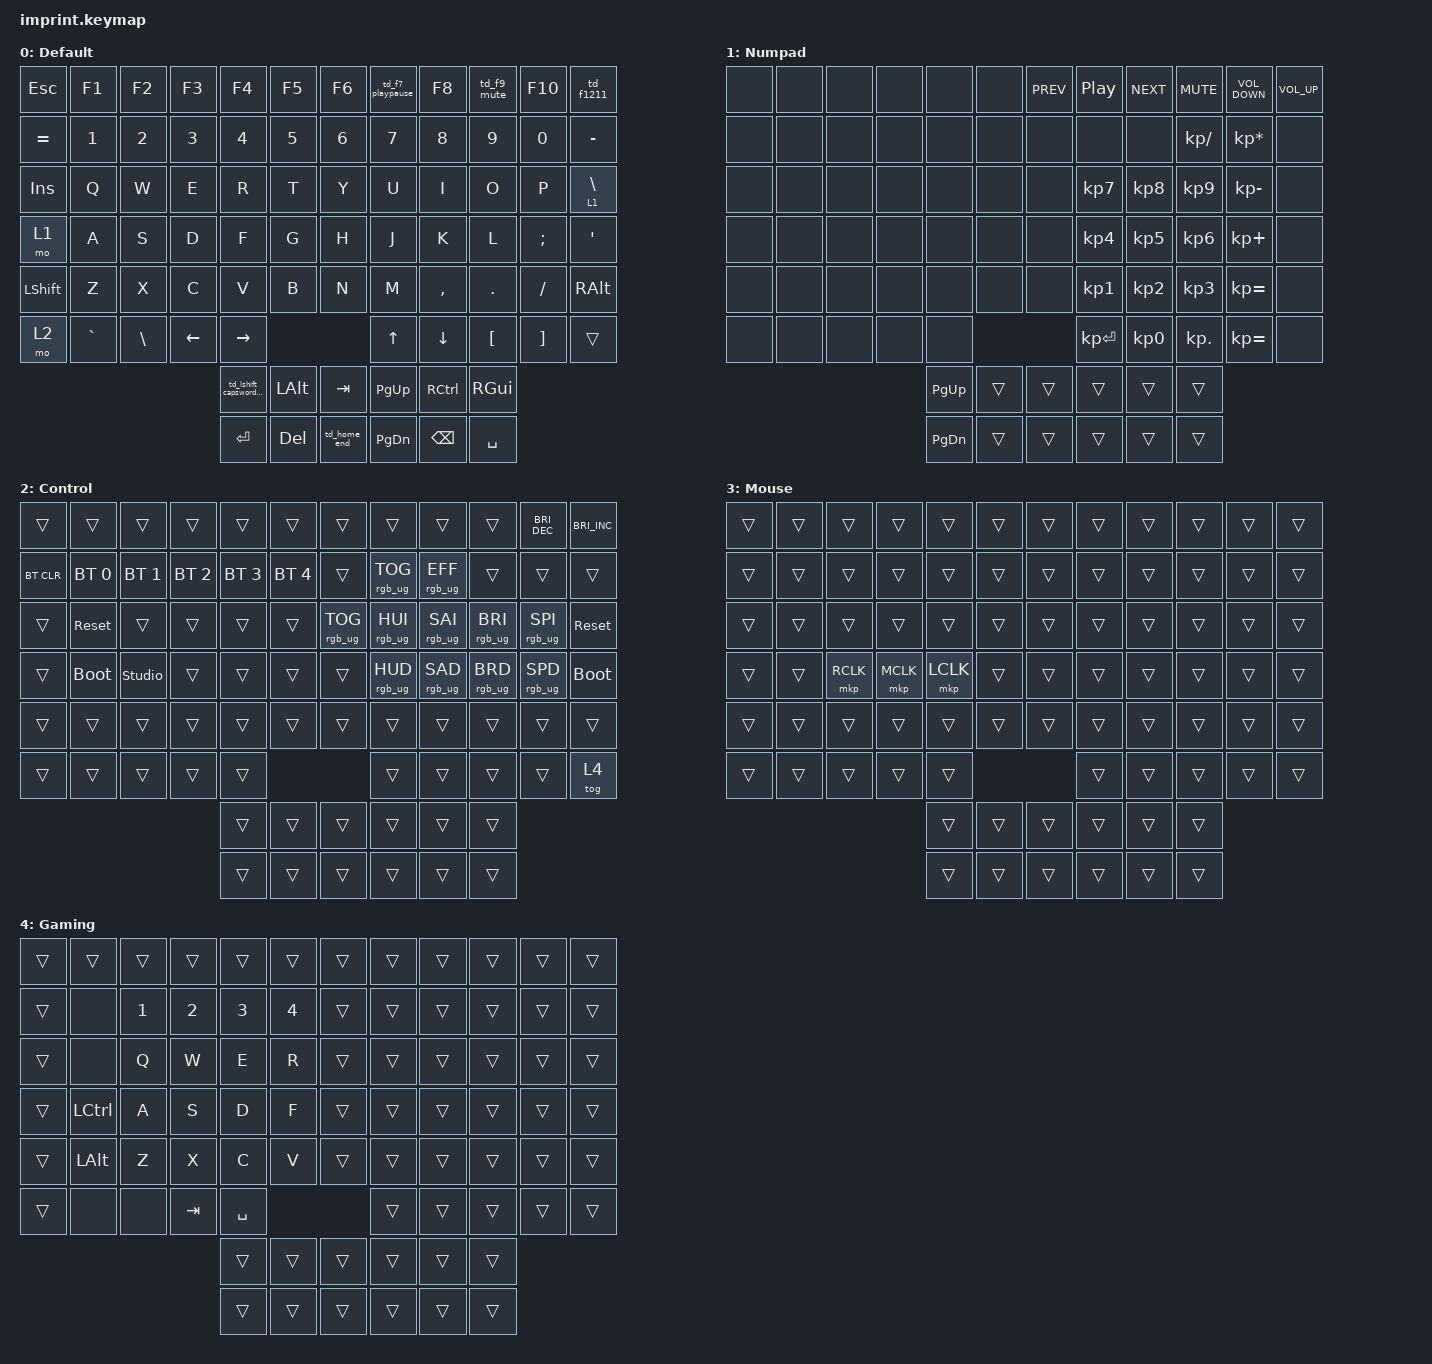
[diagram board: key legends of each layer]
#include <input/processors.dtsi>
#include <dt-bindings/zmk/input_transform.h>
#include <behaviors.dtsi>
#include <dt-bindings/zmk/bt.h>
#include <dt-bindings/zmk/keys.h>
#include <dt-bindings/zmk/pointing.h>
#include <dt-bindings/zmk/rgb.h>

/ {
    chosen { zmk,matrix-transform = &imprint_function_row_full_bottom_row; };

    behaviors {
        td_f1211: tap_dance_f12_f11 {
            compatible = "zmk,behavior-tap-dance";
            label = "TD_F12_F11";
            #binding-cells = <0>;
            tapping-term-ms = <200>;
            bindings = <&kp F12>, <&kp F11>;
        };

        td_f7_playpause: tap_dance_f7_playpause {
            compatible = "zmk,behavior-tap-dance";
            label = "TD_F7_PLAYPAUSE";
            #binding-cells = <0>;
            bindings = <&kp F7>, <&kp C_PLAY_PAUSE>;
        };

        td_lshift_capsword_capslock: tap_dance_lshift_capsword_caps {
            compatible = "zmk,behavior-tap-dance";
            label = "TD_LSHIFT_CAPSWORD_CAPS";
            #binding-cells = <0>;
            tapping-term-ms = <300>;
            bindings = <&kp LSHFT>, <&caps_word>, <&kp CAPSLOCK>;
        };

        td_f9_mute: tap_dance_f9_mute {
            compatible = "zmk,behavior-tap-dance";
            label = "TD_F9_MUTE";
            #binding-cells = <0>;
            bindings = <&kp F9>, <&kp K_MUTE>;
        };

        td_home_end: tap_dance_home_end {
            compatible = "zmk,behavior-tap-dance";
            label = "TD_HOME_END";
            #binding-cells = <0>;
            bindings = <&kp HOME>, <&kp END>;
        };

        ht_mo_kp: holdtap_mo_kp {
            compatible = "zmk,behavior-hold-tap";
            label = "HT_MO_KP";
            bindings = <&mo>, <&kp>;

            #binding-cells = <2>;
            tapping-term-ms = <200>;
            flavor = "balanced";
        };
    };

    combos {
        compatible = "zmk,combos";

        combo_left_click {
            bindings = <&mkp LCLK>;
            key-positions = <42 43>;

            /* layers = <3>; */
        };

        combo_right_click {
            bindings = <&mkp RCLK>;
            key-positions = <54 55>;

            /* layers = <3>; */
        };

        combo_middle_click {
            bindings = <&mkp MCLK>;
            key-positions = <31 30>;

            /* layers = <3>; */
        };

        combo_cmd_space {
            bindings = <&kp RG(SPACE)>;
            key-positions = <75 81>;
        };
    };

    keymap {
        compatible = "zmk,keymap";

        default_layer {
            display-name = "Default";
            bindings = <
&kp ESC    &kp F1     &kp F2    &kp F3          &kp F4                        &kp F5                    &kp F6         &td_f7_playpause  &kp F8          &td_f9_mute  &kp F10   &td_f1211
&kp EQUAL  &kp N1     &kp N2    &kp N3          &kp N4                        &kp N5                    &kp N6         &kp N7            &kp N8          &kp N9       &kp N0    &kp MINUS
&kp INS    &kp Q      &kp W     &kp E           &kp R                         &kp T                     &kp Y          &kp U             &kp I           &kp O        &kp P     &ht_mo_kp 1 BSLH
&mo 1      &kp A      &kp S     &kp D           &kp F                         &kp G                     &kp H          &kp J             &kp K           &kp L        &kp SEMI  &kp SQT
&kp LSHFT  &kp Z      &kp X     &kp C           &kp V                         &kp B                     &kp N          &kp M             &kp COMMA       &kp DOT      &kp FSLH  &kp RALT
&mo 2      &kp GRAVE  &kp BSLH  &kp LEFT_ARROW  &kp RIGHT_ARROW                                                        &kp UP_ARROW      &kp DOWN_ARROW  &kp LBKT     &kp RBKT  &trans
                                                &td_lshift_capsword_capslock  &kp LALT  &kp TAB         &kp PAGE_UP    &kp RCTRL         &kp RGUI
                                                &kp ENTER                     &kp DEL   &td_home_end    &kp PAGE_DOWN  &kp BACKSPACE     &kp SPACE
            >;

            label = "Default";
        };

        Numpad_Media_Layer {
            bindings = <
&none  &none  &none  &none  &none          &none              &kp C_PREV  &kp C_PLAY_PAUSE  &kp C_NEXT       &kp K_MUTE       &kp C_VOLUME_DOWN  &kp C_VOLUME_UP
&none  &none  &none  &none  &none          &none              &none       &none             &none            &kp KP_DIVIDE    &kp KP_MULTIPLY    &none
&none  &none  &none  &none  &none          &none              &none       &kp KP_NUMBER_7   &kp KP_NUMBER_8  &kp KP_NUMBER_9  &kp KP_MINUS       &none
&none  &none  &none  &none  &none          &none              &none       &kp KP_NUMBER_4   &kp KP_NUMBER_5  &kp KP_NUMBER_6  &kp KP_PLUS        &none
&none  &none  &none  &none  &none          &none              &none       &kp KP_NUMBER_1   &kp KP_NUMBER_2  &kp KP_NUMBER_3  &kp KP_EQUAL       &none
&none  &none  &none  &none  &none                                         &kp KP_ENTER      &kp KP_NUMBER_0  &kp KP_DOT       &kp KP_EQUAL       &none
                            &kp PAGE_UP    &trans  &trans     &trans      &trans            &trans
                            &kp PAGE_DOWN  &trans  &trans     &trans      &trans            &trans
            >;

            display-name = "Numpad";
            label = "Numpad / Media";
        };

        Keyboard_Control_Layer {
            bindings = <
&trans      &trans        &trans          &trans        &trans        &trans                  &trans           &trans           &trans           &trans           &kp C_BRIGHTNESS_DEC  &kp C_BRIGHTNESS_INC
&bt BT_CLR  &bt BT_SEL 0  &bt BT_SEL 1    &bt BT_SEL 2  &bt BT_SEL 3  &bt BT_SEL 4            &trans           &rgb_ug RGB_TOG  &rgb_ug RGB_EFF  &trans           &trans                &trans
&trans      &sys_reset    &trans          &trans        &trans        &trans                  &rgb_ug RGB_TOG  &rgb_ug RGB_HUI  &rgb_ug RGB_SAI  &rgb_ug RGB_BRI  &rgb_ug RGB_SPI       &sys_reset
&trans      &bootloader   &studio_unlock  &trans        &trans        &trans                  &trans           &rgb_ug RGB_HUD  &rgb_ug RGB_SAD  &rgb_ug RGB_BRD  &rgb_ug RGB_SPD       &bootloader
&trans      &trans        &trans          &trans        &trans        &trans                  &trans           &trans           &trans           &trans           &trans                &trans
&trans      &trans        &trans          &trans        &trans                                                 &trans           &trans           &trans           &trans                &tog 4
                                                        &trans        &trans        &trans    &trans           &trans           &trans
                                                        &trans        &trans        &trans    &trans           &trans           &trans
            >;

            display-name = "Control";
            label = "KBD Controll";
        };

        Auto_Mouse_Layer {
            bindings = <
&trans  &trans  &trans     &trans     &trans     &trans            &trans  &trans  &trans  &trans  &trans  &trans
&trans  &trans  &trans     &trans     &trans     &trans            &trans  &trans  &trans  &trans  &trans  &trans
&trans  &trans  &trans     &trans     &trans     &trans            &trans  &trans  &trans  &trans  &trans  &trans
&trans  &trans  &mkp RCLK  &mkp MCLK  &mkp LCLK  &trans            &trans  &trans  &trans  &trans  &trans  &trans
&trans  &trans  &trans     &trans     &trans     &trans            &trans  &trans  &trans  &trans  &trans  &trans
&trans  &trans  &trans     &trans     &trans                               &trans  &trans  &trans  &trans  &trans
                                      &trans     &trans  &trans    &trans  &trans  &trans
                                      &trans     &trans  &trans    &trans  &trans  &trans
            >;

            display-name = "Mouse";
            label = "Auto Mouse";
        };

        Gaming_layer {
            bindings = <
&trans  &trans     &trans  &trans   &trans     &trans            &trans  &trans  &trans  &trans  &trans  &trans
&trans  &none      &kp N1  &kp N2   &kp N3     &kp N4            &trans  &trans  &trans  &trans  &trans  &trans
&trans  &none      &kp Q   &kp W    &kp E      &kp R             &trans  &trans  &trans  &trans  &trans  &trans
&trans  &kp LCTRL  &kp A   &kp S    &kp D      &kp F             &trans  &trans  &trans  &trans  &trans  &trans
&trans  &kp LALT   &kp Z   &kp X    &kp C      &kp V             &trans  &trans  &trans  &trans  &trans  &trans
&trans  &none      &none   &kp TAB  &kp SPACE                            &trans  &trans  &trans  &trans  &trans
                                    &trans     &trans  &trans    &trans  &trans  &trans
                                    &trans     &trans  &trans    &trans  &trans  &trans
            >;

            display-name = "Gaming";
            label = "Gaming";
        };
    };
};


// right hand trackball configuration
&trackball_peripheral_listener {
    input-processors =
        // activate layer 3 within 666ms of the trackball moving
        <&zip_temp_layer 3 666>,
         /* decrease sensitivity by 20% */
        <&zip_xy_scaler 8 10>;
};


//left hand trackball configuration
&trackball_central_listener {
    input-processors =
        /* multiply sensitivity by 1, divide by 16 (make it slower for scrolling) */
        <&zip_xy_scaler 1 16>,
        /* make this trackball output scrolling events by default instead of cursor movement */
        <&zip_xy_to_scroll_mapper>,
        <&zip_scroll_scaler 1 2>,
        /* invert side scrolling */
        <&zip_scroll_transform INPUT_TRANSFORM_X_INVERT>;
        /* <&zip_scroll_transform INPUT_TRANSFORM_Y_INVERT>; */
};
